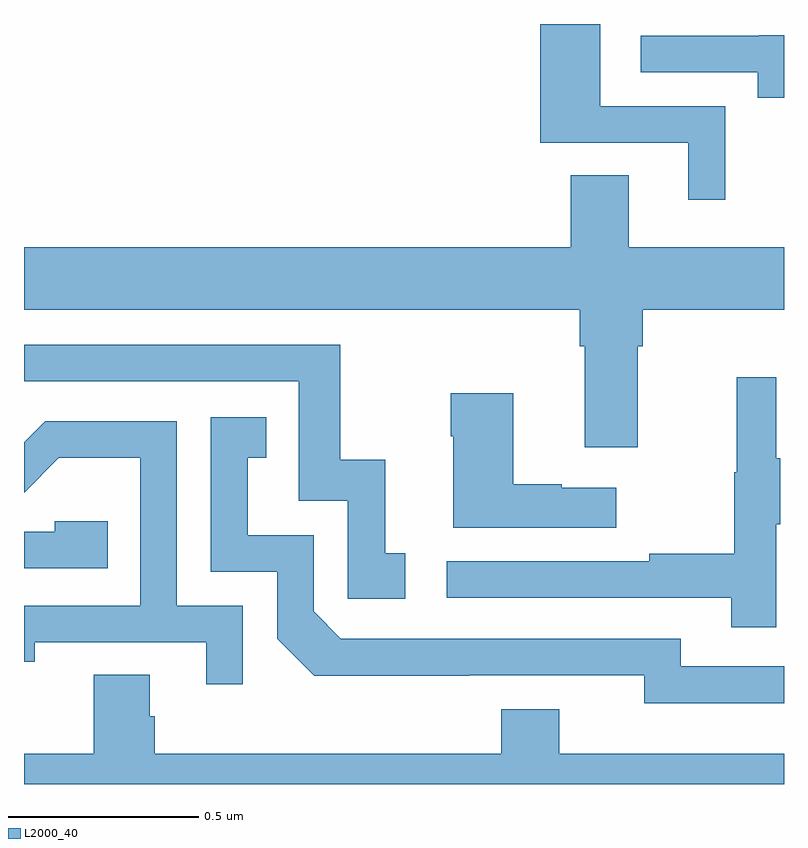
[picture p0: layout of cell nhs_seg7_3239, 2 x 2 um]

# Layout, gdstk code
import gdstk
lib = gdstk.Library(unit=1e-6, precision=1e-09)
def P(c, l, *ps):  # polygons
    for p in ps: c.add(gdstk.Polygon(p, *l))
L2000_40 = (2000, 40)

nhs_seg7_3239 = lib.new_cell('nhs_seg7_3239')
P(nhs_seg7_3239, L2000_40, [(157.846,1035.783),(157.516,1035.783),(157.516,1036),(157.358,1036),(157.358,1035.687),(157.748,1035.687),(157.748,1035.537),(157.846,1035.537)],
  [(158,1035.97),(157.935,1035.97),(157.935,1035.969),(157.623,1035.969),(157.623,1035.873),(157.931,1035.873),(157.931,1035.806),(158,1035.806)],
  [(157.615,1035.152),(157.628,1035.152),(157.628,1035.248),(158,1035.248),(158,1035.412),(157.591,1035.412),(157.591,1035.602),(157.439,1035.602),(157.439,1035.412),(156,1035.412),(156,1035.248),(157.463,1035.248),(157.463,1035.152),(157.475,1035.152),(157.475,1034.886),(157.615,1034.886)],
  [(157.003,1034.607),(156.95,1034.607),(156.95,1034.853),(156.832,1034.853),(156.832,1035.156),(156,1035.156),(156,1035.06),(156.723,1035.06),(156.723,1034.745),(156.852,1034.745),(156.852,1034.487),(157.003,1034.487)],
  [(157.979,1034.683),(157.99,1034.683),(157.99,1034.857),(157.979,1034.857),(157.979,1035.07),(157.876,1035.07),(157.876,1034.82),(157.869,1034.82),(157.869,1034.606),(157.645,1034.606),(157.645,1034.586),(157.113,1034.586),(157.113,1034.49),(157.861,1034.49),(157.861,1034.412),(157.979,1034.412)],
  [(157.558,1034.779),(157.415,1034.779),(157.415,1034.789),(157.288,1034.789),(157.288,1035.028),(157.123,1035.028),(157.123,1034.915),(157.13,1034.915),(157.13,1034.675),(157.558,1034.675)],
  [(158,1034.31),(157.728,1034.31),(157.728,1034.382),(156.834,1034.382),(156.762,1034.454),(156.762,1034.655),(156.589,1034.655),(156.589,1034.859),(156.638,1034.859),(156.638,1034.965),(156.492,1034.965),(156.492,1034.559),(156.666,1034.559),(156.666,1034.382),(156.764,1034.285),(157.172,1034.285),(157.172,1034.286),(157.632,1034.286),(157.632,1034.213),(158,1034.213)],
  [(156.576,1034.469),(156.402,1034.469),(156.402,1034.955),(156.056,1034.955),(156,1034.899),(156,1034.766),(156.092,1034.858),(156.306,1034.858),(156.306,1034.469),(156,1034.469),(156,1034.322),(156.028,1034.322),(156.028,1034.373),(156.479,1034.373),(156.479,1034.262),(156.576,1034.262)],
  [(156.221,1034.691),(156.081,1034.691),(156.081,1034.664),(156,1034.664),(156,1034.568),(156.221,1034.568)],
  [(158,1034.08),(157.408,1034.08),(157.408,1034.197),(157.256,1034.197),(157.256,1034.08),(156.344,1034.08),(156.344,1034.178),(156.331,1034.178),(156.331,1034.288),(156.184,1034.288),(156.184,1034.08),(156,1034.08),(156,1034),(158,1034)])

lib.write_gds('nhs_seg7_3239.gds')
